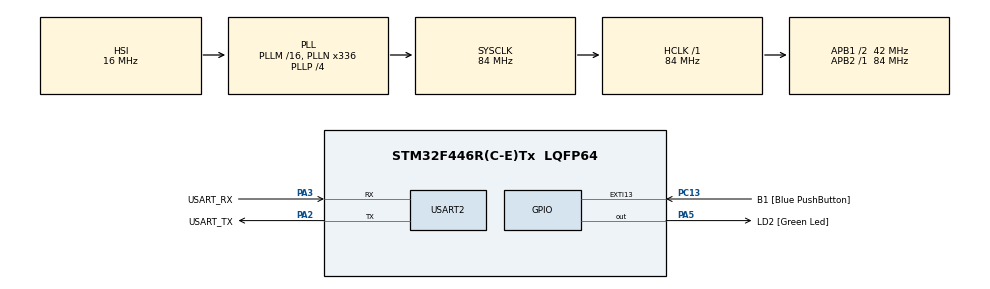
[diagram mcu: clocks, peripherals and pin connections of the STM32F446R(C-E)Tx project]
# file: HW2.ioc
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Mcu.Family=STM32F4
Mcu.Name=STM32F446R(C-E)Tx
Mcu.Package=LQFP64
NVIC.PriorityGroup=NVIC_PRIORITYGROUP_0
PA13.GPIO_Label=TMS
PA13.Mode=Serial_Wire
PA13.Signal=SYS_JTMS-SWDIO
PA14.GPIO_Label=TCK
PA14.Mode=Serial_Wire
PA14.Signal=SYS_JTCK-SWCLK
PA2.GPIO_Label=USART_TX
PA2.Mode=Asynchronous
PA2.Signal=USART2_TX
PA3.GPIO_Label=USART_RX
PA3.Mode=Asynchronous
PA3.Signal=USART2_RX
PA5.GPIO_Label=LD2 [Green Led]
PA5.Signal=GPIO_Output
PB3.GPIO_Label=SWO
PB3.Signal=SYS_JTDO-SWO
PC13.GPIO_Label=B1 [Blue PushButton]
PC13.GPIO_ModeDefaultEXTI=GPIO_MODE_IT_FALLING
PC13.Signal=GPXTI13
PC14-OSC32_IN.Mode=LSE-External-Oscillator
PC14-OSC32_IN.Signal=RCC_OSC32_IN
PC15-OSC32_OUT.Mode=LSE-External-Oscillator
PC15-OSC32_OUT.Signal=RCC_OSC32_OUT
PH0-OSC_IN.Mode=HSE-External-Oscillator
PH0-OSC_IN.Signal=RCC_OSC_IN
PH1-OSC_OUT.Mode=HSE-External-Oscillator
PH1-OSC_OUT.Signal=RCC_OSC_OUT
ProjectManager.HeapSize=0x200
ProjectManager.StackSize=0x400
ProjectManager.TargetToolchain=STM32CubeIDE
RCC.48MHZClocksFreq_Value=84000000
RCC.AHBFreq_Value=84000000
RCC.APB1CLKDivider=RCC_HCLK_DIV2
RCC.APB1Freq_Value=42000000
RCC.APB1TimFreq_Value=84000000
RCC.APB2Freq_Value=84000000
RCC.APB2TimFreq_Value=84000000
RCC.CortexFreq_Value=84000000
RCC.FLatency-AdvancedSettings=FLASH_LATENCY_2
RCC.HCLKFreq_Value=84000000
RCC.HSE_VALUE=8000000
RCC.HSI_VALUE=16000000
RCC.PLLN=336
RCC.PLLP=RCC_PLLP_DIV4
RCC.SYSCLKFreq_VALUE=84000000
RCC.SYSCLKSource=RCC_SYSCLKSOURCE_PLLCLK
RCC.USBFreq_Value=168000000
RCC.VCOOutputFreq_Value=336000000
USART2.VirtualMode=VM_ASYNC
board=NUCLEO-F446RE

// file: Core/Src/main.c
/* USER CODE BEGIN Header */
/**
  ******************************************************************************
  * @file           : main.c
  * @brief          : Main program body
  ******************************************************************************
  * @attention
  *
  * Copyright (c) 2025 STMicroelectronics.
  * All rights reserved.
  *
  * This software is licensed under terms that can be found in the LICENSE file
  * in the root directory of this software component.
  * If no LICENSE file comes with this software, it is provided AS-IS.
  *
  ******************************************************************************
  */
/* USER CODE END Header */
#include "main.h"
#include <stdint.h>

/* USER CODE BEGIN Includes */
#include <image_to_process.h>
/* USER CODE END Includes */

/* USER CODE BEGIN PTD */
#define NUM_GRAY_LEVELS 256
#define MEDIAN_KERNEL_SIZE 3
#define WINDOW_SIZE (MEDIAN_KERNEL_SIZE * MEDIAN_KERNEL_SIZE) // 9
/* USER CODE END PTD */

UART_HandleTypeDef huart2;
uint32_t histogram[NUM_GRAY_LEVELS];
float cdf[NUM_GRAY_LEVELS];
uint8_t equalized_image[IMAGE_SIZE];
uint8_t output_image_med[IMAGE_SIZE] = {0};
uint8_t output_image_hp[IMAGE_SIZE] = {0};
uint8_t output_image_lp[IMAGE_SIZE] = {0};

const float low_pass_kernel_3x3[9] = {
    1.0f/9.0f, 1.0f/9.0f, 1.0f/9.0f,
    1.0f/9.0f, 1.0f/9.0f, 1.0f/9.0f,
    1.0f/9.0f, 1.0f/9.0f, 1.0f/9.0f
};

const float high_pass_kernel_3x3[9] = {
    -1.0f, -1.0f, -1.0f,
    -1.0f,  8.0f, -1.0f,
    -1.0f, -1.0f, -1.0f
};

void SystemClock_Config(void);
static void MX_GPIO_Init(void);
static void MX_USART2_UART_Init(void);

/* USER CODE BEGIN 0 */
void apply_2d_convolution(const uint8_t *input_image, uint8_t *output_image,
                          int height, int width, const float *kernel, int kernel_size) {

    int center = kernel_size / 2;
    int k_size = kernel_size;

    for (int y = 0; y < height; y++) {
        for (int x = 0; x < width; x++) {
            float sum = 0.0f;

            for (int j = 0; j < k_size; j++) {
                for (int i = 0; i < k_size; i++) {

                    int image_y = y + j - center;
                    int image_x = x + i - center;

                    if (image_y < 0) image_y = 0;
                    if (image_y >= height) image_y = height - 1;
                    if (image_x < 0) image_x = 0;
                    if (image_x >= width) image_x = width - 1;

                    int input_index = image_y * width + image_x;
                    int kernel_index = j * k_size + i;

                    sum += (float)input_image[input_index] * kernel[kernel_index];
                }
            }

            int result = (int)(sum + 0.5f);

            if (result < 0) result = 0;
            if (result > 255) result = 255;

            output_image[y * width + x] = (uint8_t)result;
        }
    }
}
void sort_window(uint8_t *window, int size) {
    for (int i = 0; i < size - 1; i++) {
        for (int j = 0; j < size - 1 - i; j++) {
            if (window[j] > window[j + 1]) {
                // Swap işlemi (yer değiştirme)
                uint8_t temp = window[j];
                window[j] = window[j + 1];
                window[j + 1] = temp;
            }
        }
    }
}
void apply_median_filtering(const uint8_t *input_image, uint8_t *output_image,
                            int height, int width, int kernel_size) {

    int center = kernel_size / 2;
    uint8_t window[WINDOW_SIZE];

    for (int y = 0; y < height; y++) {
        for (int x = 0; x < width; x++) {
            int window_idx = 0;

            for (int j = 0; j < kernel_size; j++) {
                for (int i = 0; i < kernel_size; i++) {

                    int image_y = y + j - center;
                    int image_x = x + i - center;

                    if (image_y < 0) image_y = 0;
                    if (image_y >= height) image_y = height - 1;
                    if (image_x < 0) image_x = 0;
                    if (image_x >= width) image_x = width - 1;

                    window[window_idx++] = input_image[image_y * width + image_x];
                }
            }

            sort_window(window, WINDOW_SIZE);

            output_image[y * width + x] = window[WINDOW_SIZE / 2];
        }
    }
}
/* USER CODE END 0 */

int main(void)
{
  /* USER CODE BEGIN 1 */
	for (int i = 0; i < 256; i++) {
	        histogram[i] = 0;
	    }
	for(int i=0; i<IMAGE_SIZE; i++){
		histogram[image[i]]++;
	}
	for(int i=0; i<NUM_GRAY_LEVELS; i++){
		cdf[i]=0;
	}
	cdf[0] = (float)histogram[0] / IMAGE_SIZE;
	for(int i=1; i<NUM_GRAY_LEVELS;i++){

	    cdf[i] = cdf[i-1] + ((float)histogram[i] / (float)IMAGE_SIZE);
	}

	int i = 0;
	while (i < NUM_GRAY_LEVELS && cdf[i] <= 0.0f) {
	    i++;
	}

	float cdf_min = 0.0f;
	if (i < NUM_GRAY_LEVELS) {

	    cdf_min = cdf[i];
	}

	float normalization_factor = 1.0f / (1.0f - cdf_min);

	for (int j = 0; j < IMAGE_SIZE; j++) {
	    uint8_t r_k = image[j];
	    float cdf_r_k = cdf[r_k];

	    float s_k_float;

	    if (cdf_r_k == cdf_min) {
	        s_k_float = 0.0f;
	    } else {

	        s_k_float = (cdf_r_k - cdf_min) * normalization_factor * 255.0f;
	    }

	    int result = (int)(s_k_float + 0.5f);
	    if (result > 255) result = 255;
	    if (result < 0) result = 0;

	    equalized_image[j] = (uint8_t)result;
	}

	uint32_t equalized_histogram[NUM_GRAY_LEVELS] = {0};
	for(int j=0; j<IMAGE_SIZE; j++){

	    equalized_histogram[equalized_image[j]]++;
	    apply_2d_convolution(equalized_image, output_image_lp,IMAGE_HEIGHT, IMAGE_WIDTH,low_pass_kernel_3x3, 3);
	    apply_2d_convolution(equalized_image, output_image_hp,IMAGE_HEIGHT, IMAGE_WIDTH,high_pass_kernel_3x3, 3);
	    apply_median_filtering(equalized_image, output_image_med, IMAGE_HEIGHT, IMAGE_WIDTH,3);
	}

  /* USER CODE END 1 */

  /* MCU Configuration--------------------------------------------------------*/

  /* Reset of all peripherals, Initializes the Flash interface and the Systick. */
  HAL_Init();

  /* Configure the system clock */
  SystemClock_Config();

  /* Initialize all configured peripherals */
  MX_GPIO_Init();
  MX_USART2_UART_Init();

  /* Infinite loop */
  while (1)
  {

  }
}

void SystemClock_Config(void)
{
  RCC_OscInitTypeDef RCC_OscInitStruct = {0};
  RCC_ClkInitTypeDef RCC_ClkInitStruct = {0};

  /** Configure the main internal regulator output voltage
  */
  __HAL_RCC_PWR_CLK_ENABLE();
  __HAL_PWR_VOLTAGESCALING_CONFIG(PWR_REGULATOR_VOLTAGE_SCALE3);

  /** Initializes the RCC Oscillators according to the specified parameters
  * in the RCC_OscInitTypeDef structure.
  */
  RCC_OscInitStruct.OscillatorType = RCC_OSCILLATORTYPE_HSI;
  RCC_OscInitStruct.HSIState = RCC_HSI_ON;
  RCC_OscInitStruct.HSICalibrationValue = RCC_HSICALIBRATION_DEFAULT;
  RCC_OscInitStruct.PLL.PLLState = RCC_PLL_ON;
  RCC_OscInitStruct.PLL.PLLSource = RCC_PLLSOURCE_HSI;
  RCC_OscInitStruct.PLL.PLLM = 16;
  RCC_OscInitStruct.PLL.PLLN = 336;
  RCC_OscInitStruct.PLL.PLLP = RCC_PLLP_DIV4;
  RCC_OscInitStruct.PLL.PLLQ = 2;
  RCC_OscInitStruct.PLL.PLLR = 2;
  if (HAL_RCC_OscConfig(&RCC_OscInitStruct) != HAL_OK)
  {
    Error_Handler();
  }

  /** Initializes the CPU, AHB and APB buses clocks
  */
  RCC_ClkInitStruct.ClockType = RCC_CLOCKTYPE_HCLK|RCC_CLOCKTYPE_SYSCLK
                              |RCC_CLOCKTYPE_PCLK1|RCC_CLOCKTYPE_PCLK2;
  RCC_ClkInitStruct.SYSCLKSource = RCC_SYSCLKSOURCE_PLLCLK;
  RCC_ClkInitStruct.AHBCLKDivider = RCC_SYSCLK_DIV1;
  RCC_ClkInitStruct.APB1CLKDivider = RCC_HCLK_DIV2;
  RCC_ClkInitStruct.APB2CLKDivider = RCC_HCLK_DIV1;

  if (HAL_RCC_ClockConfig(&RCC_ClkInitStruct, FLASH_LATENCY_2) != HAL_OK)
  {
    Error_Handler();
  }
}

static void MX_USART2_UART_Init(void)
{

  huart2.Instance = USART2;
  huart2.Init.BaudRate = 115200;
  huart2.Init.WordLength = UART_WORDLENGTH_8B;
  huart2.Init.StopBits = UART_STOPBITS_1;
  huart2.Init.Parity = UART_PARITY_NONE;
  huart2.Init.Mode = UART_MODE_TX_RX;
  huart2.Init.HwFlowCtl = UART_HWCONTROL_NONE;
  huart2.Init.OverSampling = UART_OVERSAMPLING_16;
  if (HAL_UART_Init(&huart2) != HAL_OK)
  {
    Error_Handler();
  }

}

static void MX_GPIO_Init(void)
{
  GPIO_InitTypeDef GPIO_InitStruct = {0};

  /* GPIO Ports Clock Enable */
  __HAL_RCC_GPIOC_CLK_ENABLE();
  __HAL_RCC_GPIOH_CLK_ENABLE();
  __HAL_RCC_GPIOA_CLK_ENABLE();
  __HAL_RCC_GPIOB_CLK_ENABLE();

  /*Configure GPIO pin Output Level */
  HAL_GPIO_WritePin(LD2_GPIO_Port, LD2_Pin, GPIO_PIN_RESET);

  /*Configure GPIO pin : B1_Pin */
  GPIO_InitStruct.Pin = B1_Pin;
  GPIO_InitStruct.Mode = GPIO_MODE_IT_FALLING;
  GPIO_InitStruct.Pull = GPIO_NOPULL;
  HAL_GPIO_Init(B1_GPIO_Port, &GPIO_InitStruct);

  /*Configure GPIO pin : LD2_Pin */
  GPIO_InitStruct.Pin = LD2_Pin;
  GPIO_InitStruct.Mode = GPIO_MODE_OUTPUT_PP;
  GPIO_InitStruct.Pull = GPIO_NOPULL;
  GPIO_InitStruct.Speed = GPIO_SPEED_FREQ_LOW;
  HAL_GPIO_Init(LD2_GPIO_Port, &GPIO_InitStruct);

}

void Error_Handler(void)
{
  __disable_irq();
  while (1)
  {
  }
}
